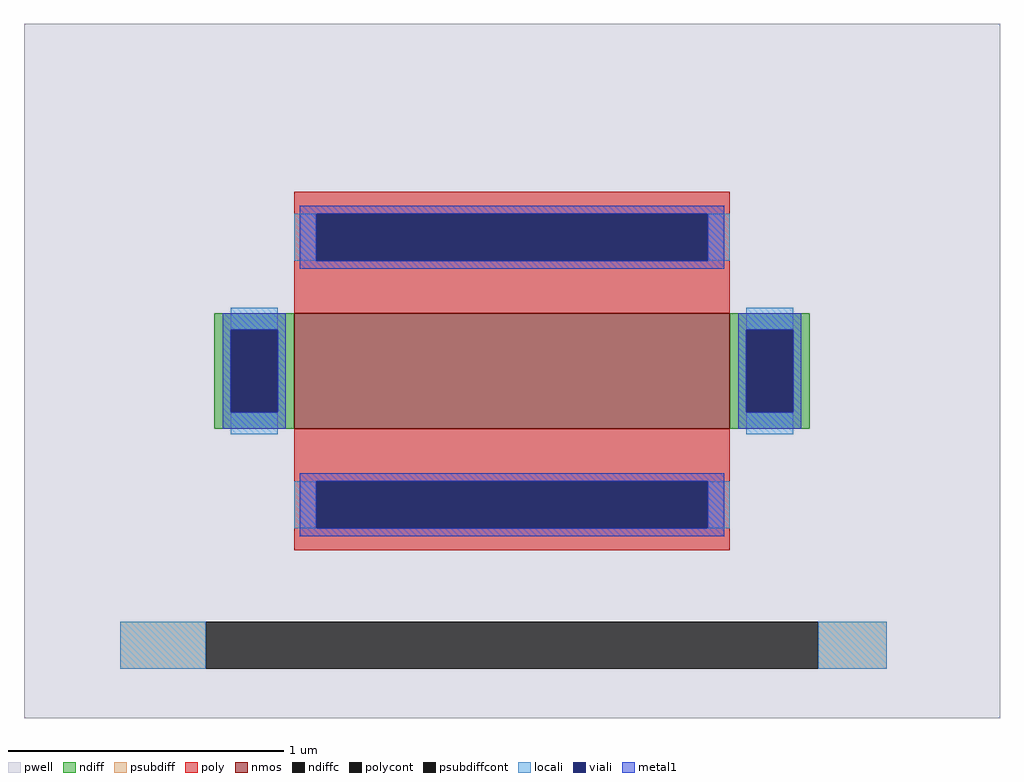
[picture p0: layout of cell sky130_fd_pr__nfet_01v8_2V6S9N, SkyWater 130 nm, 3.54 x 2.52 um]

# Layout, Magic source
magic
tech sky130A
<< pwell >>
rect -177 -126 177 126
<< nmos >>
rect -79 -21 79 21
<< ndiff >>
rect -108 15 -79 21
rect -108 -15 -102 15
rect -85 -15 -79 15
rect -108 -21 -79 -15
rect 79 15 108 21
rect 79 -15 85 15
rect 102 -15 108 15
rect 79 -21 108 -15
<< ndiffc >>
rect -102 -15 -85 15
rect 85 -15 102 15
<< psubdiff >>
rect -142 -108 -111 -91
rect 111 -108 136 -91
<< psubdiffcont >>
rect -111 -108 111 -91
<< poly >>
rect -79 57 79 65
rect -79 40 -71 57
rect 71 40 79 57
rect -79 21 79 40
rect -79 -40 79 -21
rect -79 -57 -71 -40
rect 71 -57 79 -40
rect -79 -65 79 -57
<< polycont >>
rect -71 40 71 57
rect -71 -57 71 -40
<< locali >>
rect -79 40 -71 57
rect 71 40 79 57
rect -102 15 -85 23
rect -102 -23 -85 -15
rect 85 15 102 23
rect 85 -23 102 -15
rect -79 -57 -71 -40
rect 71 -57 79 -40
rect -142 -108 -111 -91
rect 111 -108 136 -91
<< viali >>
rect -71 40 71 57
rect -102 -15 -85 15
rect 85 -15 102 15
rect -71 -57 71 -40
<< metal1 >>
rect -77 57 77 60
rect -77 40 -71 57
rect 71 40 77 57
rect -77 37 77 40
rect -105 15 -82 21
rect -105 -15 -102 15
rect -85 -15 -82 15
rect -105 -21 -82 -15
rect 82 15 105 21
rect 82 -15 85 15
rect 102 -15 105 15
rect 82 -21 105 -15
rect -77 -40 77 -37
rect -77 -57 -71 -40
rect 71 -57 77 -40
rect -77 -60 77 -57
<< properties >>
string FIXED_BBOX -150 -99 150 99
string gencell sky130_fd_pr__nfet_01v8
string library sky130
string parameters w 0.42 l 1.58 m 1 nf 1 diffcov 100 polycov 100 guard 1 glc 1 grc 1 gtc 1 gbc 1 tbcov 100 rlcov 100 topc 1 botc 1 poverlap 0 doverlap 1 lmin 0.15 wmin 0.42 compatible {sky130_fd_pr__nfet_01v8 sky130_fd_pr__nfet_01v8_lvt  sky130_fd_bs_flash__special_sonosfet_star  sky130_fd_pr__nfet_g5v0d10v5 sky130_fd_pr__nfet_05v0_nvt  sky130_fd_pr__nfet_03v3_nvt} full_metal 1 viasrc 100 viadrn 100 viagate 100 viagb 0 viagr 0 viagl 0 viagt 0
<< end >>
